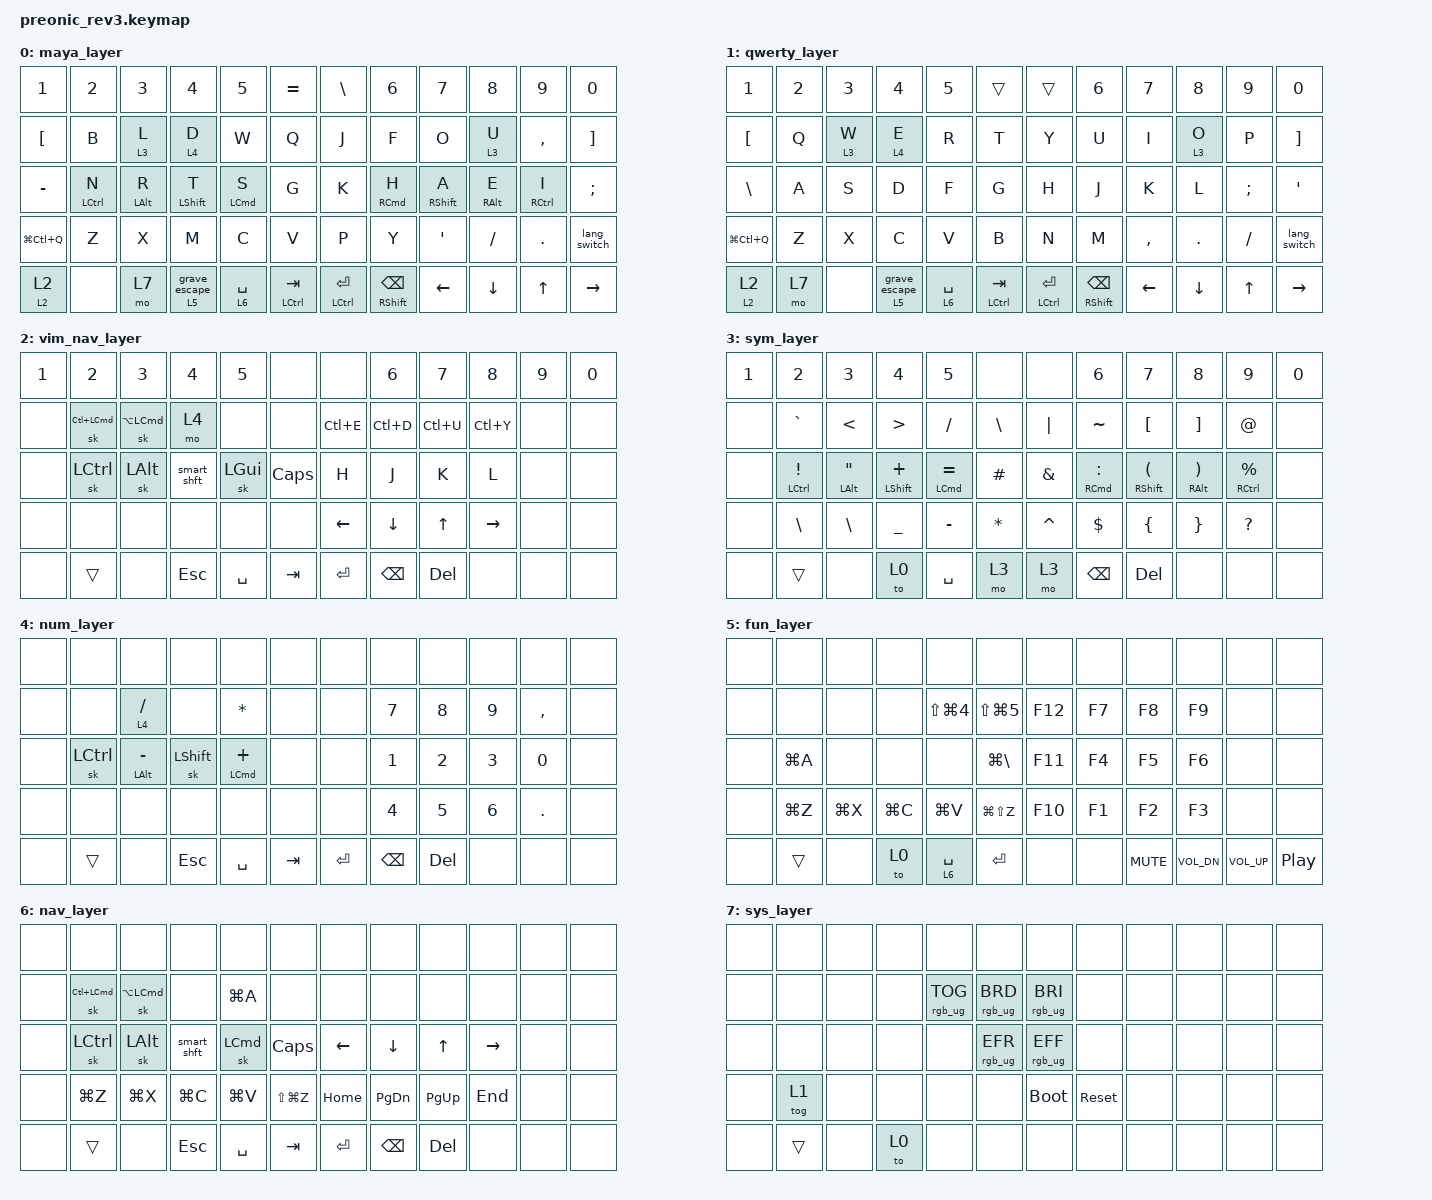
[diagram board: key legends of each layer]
/*
 * Copyright (c) 2022 The ZMK Contributors
 *
 * SPDX-License-Identifier: MIT
 */

#include <behaviors.dtsi>
#include <dt-bindings/zmk/keys.h>
#include <dt-bindings/zmk/rgb.h>

#define DEFAULT 0
#define LOWER   1
#define RAISE   2

&mt { quick-tap-ms = <150>; };

&sl { /delete-property/ quick-release; };

&gresc {
    keep-mods = <(MOD_RSFT|MOD_LGUI|MOD_LCTL)>;
    mods = <(MOD_LGUI|MOD_LSFT|MOD_RGUI|MOD_RSFT|MOD_LCTL)>;
};

/ {
    chosen { zmk,matrix_transform = &layout_grid_transform; };

    behaviors {
        lh_hm: lh_hm {
            compatible = "zmk,behavior-hold-tap";
            label = "left_hand_homerow_mods";
            bindings = <&kp>, <&kp>;

            #binding-cells = <2>;
            tapping-term-ms = <280>;
            quick-tap-ms = <175>;
            flavor = "balanced";
            require-prior-idle-ms = <75>;
            hold-trigger-on-release;
            hold-trigger-key-positions = <6 7 8 9 10 11 18 19 20 21 22 23 30 31 32 33 34 35 42 43 44 45 46 47 48 49 50 51 52 53 54 55 56 57 58 59>;
            hold-while-undecided;
        };

        rh_hm: rh_hm {
            compatible = "zmk,behavior-hold-tap";
            label = "right_hand_homerow_mods";
            bindings = <&kp>, <&kp>;

            #binding-cells = <2>;
            tapping-term-ms = <280>;
            quick-tap-ms = <175>;
            flavor = "balanced";
            require-prior-idle-ms = <75>;
            hold-trigger-key-positions = <0 1 2 3 4 5 12 13 14 15 16 17 24 25 26 27 28 29 36 38 40 37 38 39 40 49 50 51 52 48 49 50 51 52 53 54 55 56 57 58 59 41>;
            hold-trigger-on-release;
            hold-while-undecided;
        };

        smart_shft: smart_shft {
            compatible = "zmk,behavior-mod-morph";
            label = "SMART_SHFT";
            bindings = <&quick_sk RSHFT>, <&caps_word>;

            #binding-cells = <0>;
            mods = <(MOD_RSFT)>;
        };

        quick_sk: quick_sk {
            compatible = "zmk,behavior-sticky-key";
            label = "QUICK_STICKY_KEY";
            bindings = <&kp>;
            #binding-cells = <1>;
            release-after-ms = <900>;
            quick-release;
        };

        quick_hold_tap: quick_hold_tap {
            compatible = "zmk,behavior-hold-tap";
            label = "QUICK_HOLD_TAP";
            bindings = <&quick_sk>, <&kp>;

            #binding-cells = <2>;
            tapping-term-ms = <120>;
        };

        lh_lt: lh_lt {
            compatible = "zmk,behavior-hold-tap";
            label = "left_hand_layer_tap";
            bindings = <&mo>, <&kp>;

            #binding-cells = <2>;
            tapping-term-ms = <280>;
            quick-tap-ms = <175>;
            flavor = "balanced";
            hold-trigger-key-positions = <6 7 8 9 10 11 18 19 20 21 22 23 30 31 32 33 34 35 50 51 52 53 54 55 56 57 58 59 30 34 35 43 44 45 46 47 48 49 56 57 58 59 42>;
            hold-trigger-on-release;
            require-prior-idle-ms = <75>;
        };

        rh_lt: rh_lt {
            compatible = "zmk,behavior-hold-tap";
            label = "right_hand_layer_tap";
            bindings = <&mo>, <&kp>;

            #binding-cells = <2>;
            tapping-term-ms = <280>;
            quick-tap-ms = <175>;
            flavor = "balanced";
            hold-trigger-key-positions = <0 1 2 3 4 5 12 13 14 15 16 17 24 25 26 27 28 29 36 37 38 39 40 51 52 53 54 55 56 57 58 59 29 41 49 48 50>;
            hold-trigger-on-release;
            require-prior-idle-ms = <75>;
        };

        grave_escape: grave_escape {
            compatible = "zmk,behavior-mod-morph";
            label = "GRAVE_ESCAPE";
            bindings = <&kp ESC>, <&kp GRAVE>;

            #binding-cells = <0>;
            keep-mods = <(MOD_RSFT|MOD_LCTL|MOD_LGUI)>;
            mods = <(MOD_LGUI|MOD_RGUI|MOD_LCTL|MOD_LSFT|MOD_RSFT|MOD_RCTL|MOD_LALT|MOD_RALT)>;
        };

        layer_gresc: layer_gresc {
            compatible = "zmk,behavior-hold-tap";
            label = "LAYER_GRESC";
            bindings = <&mo>, <&grave_escape>;

            #binding-cells = <2>;
            tapping-term-ms = <200>;
            quick-tap-ms = <150>;
            flavor = "tap-preferred";
        };

        m_semi_flsh: m_semi_flsh {
            compatible = "zmk,behavior-mod-morph";
            label = "M_SEMI_FLSH";
            bindings = <&kp SEMI>, <&kp FSLH>;

            #binding-cells = <0>;
            mods = <(MOD_LSFT|MOD_LGUI|MOD_LCTL|MOD_LALT)>;
            keep-mods = <(MOD_LGUI|MOD_LCTL|MOD_LSFT)>;
        };

        layer_repeat: layer_repeat {
            compatible = "zmk,behavior-hold-tap";
            label = "LAYER_REPEAT";
            bindings = <&mo>, <&key_repeat>;

            #binding-cells = <2>;
            tapping-term-ms = <200>;
            quick-tap-ms = <150>;
        };

        lh_hm_quick: lh_hm_quick {
            compatible = "zmk,behavior-hold-tap";
            label = "LH_HM_QUICK";
            bindings = <&kp>, <&kp>;

            #binding-cells = <2>;
            tapping-term-ms = <280>;
            quick-tap-ms = <175>;
            flavor = "balanced";
            hold-trigger-on-release;
            require-prior-idle-ms = <125>;
            hold-trigger-key-positions = <47 46 53 54 55 58 59>;
        };

        layer_switcher: layer_switcher {
            compatible = "zmk,behavior-hold-tap";
            label = "LAYER_SWITCHER";
            bindings = <&mo>, <&tog>;

            #binding-cells = <2>;
            tapping-term-ms = <200>;
            flavor = "balanced";
        };

        m_sqt_minus: m_sqt_minus {
            compatible = "zmk,behavior-mod-morph";
            label = "M_SQT_MINUS";
            bindings = <&kp SQT>, <&kp MINUS>;

            #binding-cells = <0>;
            mods = <(MOD_LSFT|MOD_LGUI|MOD_LALT)>;
            keep-mods = <(MOD_LSFT|MOD_LGUI)>;
        };

        m_comma_lt: m_comma_lt {
            compatible = "zmk,behavior-mod-morph";
            label = "M_COMMA_LT";
            bindings = <&kp COMMA>, <&kp LT>;

            #binding-cells = <0>;
            mods = <(MOD_LALT)>;
        };

        m_dot_gt: m_dot_gt {
            compatible = "zmk,behavior-mod-morph";
            label = "M_DOT_GT";
            bindings = <&kp DOT>, <&kp GT>;

            #binding-cells = <0>;
            mods = <(MOD_LALT)>;
        };
    };

    macros {
        lang_switch: lang_switch {
            compatible = "zmk,behavior-macro";
            #binding-cells = <0>;
            bindings = <&tog 1 &kp RA(SPACE)>;
            label = "LANG_SWITCH";
            wait-ms = <40>;
            tap-ms = <40>;
        };
    };

    keymap {
        compatible = "zmk,keymap";

        maya_layer {
            bindings = <
&kp N1               &kp N2          &kp N3         &kp N4            &kp N5         &kp EQUAL      &kp BSLH       &kp N6          &kp N7          &kp N8         &kp N9          &kp N0
&kp LBKT             &kp B           &lh_lt 3 L     &lh_lt 4 D        &kp W          &kp Q          &kp J          &kp F           &kp O           &rh_lt 3 U     &kp COMMA       &kp RBKT
&kp MINUS            &lh_hm LCTRL N  &lh_hm LALT R  &lh_hm LSHFT T    &lh_hm LCMD S  &kp G          &kp K          &rh_hm RCMD H   &rh_hm RSHFT A  &rh_hm RALT E  &rh_hm RCTRL I  &kp SEMI
&kp LG(LC(Q))        &kp Z           &kp X          &kp M             &kp C          &kp V          &kp P          &kp Y           &kp SQT         &kp FSLH       &kp DOT         &lang_switch
&layer_switcher 2 2  &none           &mo 7          &layer_gresc 5 0  &lt 6 SPACE    &mt LCTRL TAB  &mt LCTRL RET  &mt RSHFT BSPC  &kp LEFT        &kp DOWN       &kp UP          &kp RIGHT
            >;
        };

        qwerty_layer {
            bindings = <
&kp N1               &kp N2  &kp N3      &kp N4            &kp N5       &trans         &trans         &kp N6          &kp N7     &kp N8      &kp N9    &kp N0
&kp LBKT             &kp Q   &lh_lt 3 W  &lh_lt 4 E        &kp R        &kp T          &kp Y          &kp U           &kp I      &rh_lt 3 O  &kp P     &kp RBKT
&kp BSLH             &kp A   &kp S       &kp D             &kp F        &kp G          &kp H          &kp J           &kp K      &kp L       &kp SEMI  &kp SQT
&kp LG(LC(Q))        &kp Z   &kp X       &kp C             &kp V        &kp B          &kp N          &kp M           &kp COMMA  &kp DOT     &kp FSLH  &lang_switch
&layer_switcher 2 2  &mo 7   &none       &layer_gresc 5 0  &lt 6 SPACE  &mt LCTRL TAB  &mt LCTRL RET  &mt RSHFT BSPC  &kp LEFT   &kp DOWN    &kp UP    &kp RIGHT
            >;
        };

        vim_nav_layer {
            bindings = <
&kp N1  &kp N2        &kp N3        &kp N4       &kp N5     &none     &none      &kp N6     &kp N7     &kp N8     &kp N9  &kp N0
&none   &sk LC(LCMD)  &sk LA(LCMD)  &mo 4        &none      &none     &kp LC(E)  &kp LC(D)  &kp LC(U)  &kp LC(Y)  &none   &none
&none   &sk LCTRL     &sk LALT      &smart_shft  &sk LGUI   &kp CAPS  &kp H      &kp J      &kp K      &kp L      &none   &none
&none   &none         &none         &none        &none      &none     &kp LEFT   &kp DOWN   &kp UP     &kp RIGHT  &none   &none
&none   &trans        &none         &kp ESC      &kp SPACE  &kp TAB   &kp ENTER  &kp BSPC   &kp DEL    &none      &none   &none
            >;
        };

        sym_layer {
            bindings = <
&kp N1  &kp N2             &kp N3           &kp N4             &kp N5             &none     &none      &kp N6             &kp N7             &kp N8            &kp N9              &kp N0
&none   &kp GRAVE          &kp LT           &kp GT             &kp FSLH           &kp BSLH  &kp PIPE   &kp TILDE          &kp LBKT           &kp RBKT          &kp AT              &none
&none   &lh_hm LCTRL EXCL  &lh_hm LALT DQT  &lh_hm LSHFT PLUS  &lh_hm LCMD EQUAL  &kp HASH  &kp AMPS   &rh_hm RCMD COLON  &rh_hm RSHFT LPAR  &rh_hm RALT RPAR  &rh_hm RCTRL PRCNT  &none
&none   &kp BSLH           &kp BSLH         &kp UNDER          &kp MINUS          &kp STAR  &kp CARET  &kp DLLR           &kp LBRC           &kp RBRC          &kp QMARK           &none
&none   &trans             &none            &to 0              &kp SPACE          &mo 3     &mo 3      &kp BSPC           &kp DEL            &none             &none               &none
            >;
        };

        num_layer {
            // ------------------------------------------------------------------------------------------
            // |   ~   |  !   |  @   |  #   |  $   |  %   |   ^   |   &   |   *  |  (   |   )   | BSPC  |
            // |   ~   |  !   |  @   |  #   |  $   |  %   |   ^   |   &   |   *  |  (   |   )   | DEL   |
            // |  DEL  |  F1  |  F2  |  F3  |  F4  |  F5  |  F6   |   -   |   +  |  [   |   ]   |  |    |
            // |       |  F7  |  F8  |  F9  |  F10 |  F11 |  F12  |       | LCTL | HOME |  END  |       |
            // | LALT  |      |      |      |      |      |       |       | NEXT | VOL- | VOL+  | PLAY  |

            bindings = <
&none  &none      &none           &none      &none          &none    &none    &none     &none    &none   &none      &none
&none  &none      &lt 4 FSLH      &none      &kp STAR       &none    &none    &kp N7    &kp N8   &kp N9  &kp COMMA  &none
&none  &sk LCTRL  &mt LALT MINUS  &sk LSHFT  &mt LCMD PLUS  &none    &none    &kp N1    &kp N2   &kp N3  &kp N0     &none
&none  &none      &none           &none      &none          &none    &none    &kp N4    &kp N5   &kp N6  &kp DOT    &none
&none  &trans     &none           &kp ESC    &kp SPACE      &kp TAB  &kp RET  &kp BSPC  &kp DEL  &none   &none      &none
            >;
        };

        fun_layer {
            bindings = <
&none  &none      &none      &none      &none           &none           &none    &none   &none       &none         &none         &none
&none  &none      &none      &none      &kp LS(LG(N4))  &kp LS(LG(N5))  &kp F12  &kp F7  &kp F8      &kp F9        &none         &none
&none  &kp LG(A)  &none      &none      &none           &kp LG(BSLH)    &kp F11  &kp F4  &kp F5      &kp F6        &none         &none
&none  &kp LG(Z)  &kp LG(X)  &kp LG(C)  &kp LG(V)       &kp LG(LS(Z))   &kp F10  &kp F1  &kp F2      &kp F3        &none         &none
&none  &trans     &none      &to 0      &lt 6 SPACE     &kp RET         &none    &none   &kp K_MUTE  &kp C_VOL_DN  &kp C_VOL_UP  &kp C_PP
            >;
        };

        nav_layer {
            bindings = <
&none  &none         &none         &none        &none      &none          &none     &none      &none      &none      &none  &none
&none  &sk LC(LCMD)  &sk LA(LCMD)  &none        &kp LG(A)  &none          &none     &none      &none      &none      &none  &none
&none  &sk LCTRL     &sk LALT      &smart_shft  &sk LCMD   &kp CLCK       &kp LEFT  &kp DOWN   &kp UP     &kp RIGHT  &none  &none
&none  &kp LG(Z)     &kp LG(X)     &kp LG(C)    &kp LG(V)  &kp LS(LG(Z))  &kp HOME  &kp PG_DN  &kp PG_UP  &kp END    &none  &none
&none  &trans        &none         &kp ESC      &kp SPACE  &kp TAB        &kp RET   &kp BSPC   &kp DEL    &none      &none  &none
            >;
        };

        sys_layer {
            bindings = <
&none  &none   &none  &none  &none            &none            &none            &none       &none  &none  &none  &none
&none  &none   &none  &none  &rgb_ug RGB_TOG  &rgb_ug RGB_BRD  &rgb_ug RGB_BRI  &none       &none  &none  &none  &none
&none  &none   &none  &none  &none            &rgb_ug RGB_EFR  &rgb_ug RGB_EFF  &none       &none  &none  &none  &none
&none  &tog 1  &none  &none  &none            &none            &bootloader      &sys_reset  &none  &none  &none  &none
&none  &trans  &none  &to 0  &none            &none            &none            &none       &none  &none  &none  &none
            >;
        };
    };
};
